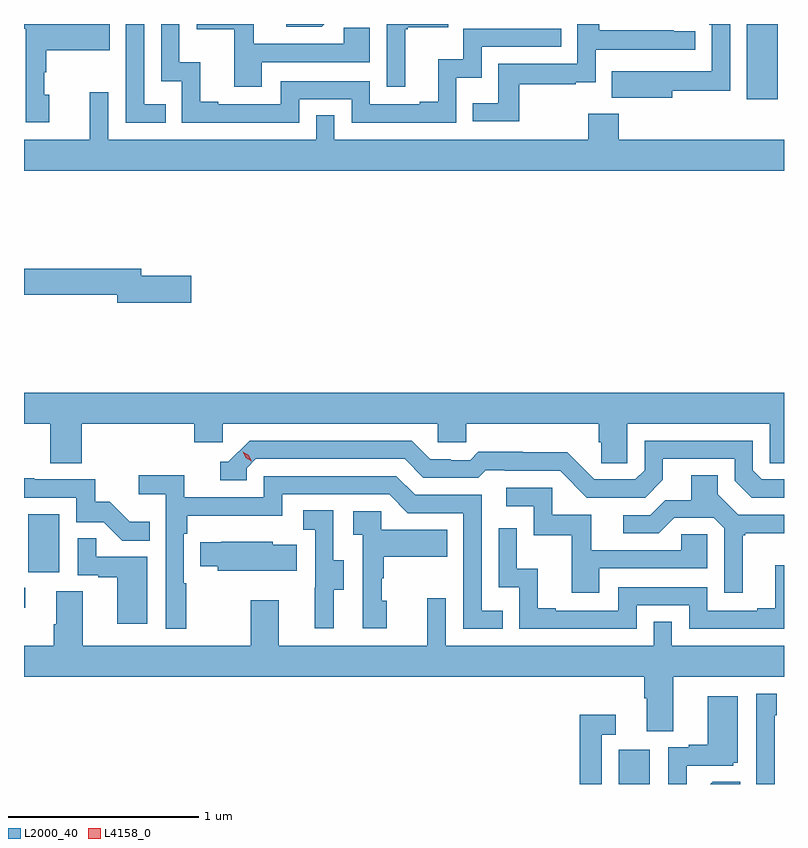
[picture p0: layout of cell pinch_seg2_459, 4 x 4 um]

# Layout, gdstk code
import gdstk
lib = gdstk.Library(unit=1e-6, precision=1e-09)
def R(c, l, rs):  # rectangles x0, y0, x1, y1
    for r in rs: c.add(gdstk.rectangle(r[:2], r[2:], *l))
def P(c, l, *ps):  # polygons
    for p in ps: c.add(gdstk.Polygon(p, *l))
L2000_40 = (2000, 40)
L4158_0 = (4158, 0)

pinch_seg2_459 = lib.new_cell('pinch_seg2_459')
R(pinch_seg2_459, L2000_40, [(912.794,584.468,912.958,584.647), (909.664,585.396,909.67,585.501), (909.686,585.582,909.85,585.889), (913.469,588.072,913.63,588.468)])
P(pinch_seg2_459, L2000_40, [(911.245,588.468),(911.043,588.468),(911.043,588.453),(911.23,588.453)],
  [(913.075,588.118),(913.38,588.118),(913.38,588.468),(913.271,588.468),(913.271,588.464),(913.284,588.464),(913.284,588.219),(912.971,588.219),(912.971,588.22),(912.757,588.22),(912.757,588.08),(913.075,588.08)],
  [(912.271,588.15),(912.569,588.15),(912.569,588.161),(912.672,588.161),(912.672,588.333),(913.198,588.333),(913.198,588.429),(913.085,588.429),(913.085,588.434),(912.692,588.434),(912.692,588.468),(912.576,588.468),(912.576,588.258),(912.16,588.258),(912.16,588.052),(912.025,588.052),(912.025,587.955),(912.271,587.955)],
  [(910.915,588.267),(911.484,588.267),(911.484,588.447),(911.347,588.447),(911.347,588.363),(910.873,588.363),(910.873,588.468),(910.572,588.468),(910.572,588.441),(910.771,588.441),(910.771,588.138),(910.915,588.138)],
  [(909.796,588.096),(909.771,588.096),(909.771,588.215),(909.781,588.215),(909.781,588.329),(910.115,588.329),(910.115,588.468),(909.664,588.468),(909.664,588.443),(909.672,588.443),(909.672,587.952),(909.796,587.952)],
  [(910.409,588.045),(910.296,588.045),(910.296,588.468),(910.2,588.468),(910.2,587.949),(910.409,587.949)],
  [(911.671,588.441),(911.683,588.441),(911.683,588.452),(911.896,588.452),(911.896,588.468),(911.574,588.468),(911.574,588.138),(911.671,588.138)],
  [(911.112,588.072),(911.388,588.072),(911.388,587.949),(911.94,587.949),(911.94,588.185),(912.072,588.185),(912.072,588.348),(912.491,588.348),(912.491,588.444),(911.976,588.444),(911.976,588.283),(911.843,588.283),(911.843,588.058),(911.747,588.058),(911.747,588.045),(911.484,588.045),(911.484,588.168),(911.016,588.168),(911.016,588.045),(910.687,588.045),(910.687,588.058),(910.592,588.058),(910.592,588.266),(910.482,588.266),(910.482,588.468),(910.386,588.468),(910.386,588.168),(910.494,588.168),(910.494,587.949),(911.112,587.949)],
  [(913.664,587.86),(912.794,587.86),(912.794,587.995),(912.634,587.995),(912.634,587.86),(911.298,587.86),(911.298,587.987),(911.202,587.987),(911.202,587.86),(910.107,587.86),(910.107,588.109),(910.01,588.109),(910.01,587.86),(909.664,587.86),(909.664,587.696),(913.664,587.696)],
  [(910.543,587.144),(910.282,587.144),(910.282,587.18),(909.664,587.18),(909.664,587.044),(910.154,587.044),(910.154,587.002),(910.543,587.002)],
  [(909.968,586.364),(910.559,586.364),(910.559,586.266),(910.71,586.266),(910.71,586.364),(911.841,586.364),(911.841,586.266),(911.991,586.266),(911.991,586.364),(912.689,586.364),(912.689,586.266),(912.703,586.266),(912.703,586.156),(912.84,586.156),(912.84,586.364),(913.59,586.364),(913.59,586.156),(913.664,586.156),(913.664,586.528),(909.664,586.528),(909.664,586.364),(909.803,586.364),(909.803,586.156),(909.968,586.156)],
  [(913.027,586.069),(913.027,586.179),(913.404,586.179),(913.404,586.065),(913.494,585.975),(913.664,585.975),(913.664,586.071),(913.548,586.071),(913.5,586.119),(913.5,586.275),(912.93,586.275),(912.93,586.119),(912.882,586.071),(912.666,586.071),(912.524,586.213),(912.288,586.213),(912.288,586.216),(912.055,586.216),(912.013,586.173),(911.91,586.173),(911.91,586.176),(911.803,586.176),(911.704,586.275),(910.851,586.275),(910.74,586.164),(910.697,586.164),(910.697,586.068),(910.836,586.068),(910.836,586.131),(910.884,586.179),(911.667,586.179),(911.766,586.08),(912.055,586.08),(912.094,586.119),(912.193,586.119),(912.193,586.116),(912.486,586.116),(912.627,585.975),(912.933,585.975)],
  [(913.447,585.777),(913.459,585.777),(913.459,585.788),(913.664,585.788),(913.664,585.885),(913.422,585.885),(913.315,585.992),(913.315,586.094),(913.175,586.094),(913.175,585.962),(913.04,585.962),(912.96,585.882),(912.819,585.882),(912.819,585.789),(913.006,585.789),(913.087,585.87),(913.293,585.87),(913.35,585.813),(913.35,585.474),(913.447,585.474)],
  [(910.519,585.524),(910.506,585.524),(910.506,585.785),(910.523,585.785),(910.523,585.881),(911.022,585.881),(911.022,585.993),(911.586,585.993),(911.685,585.894),(911.976,585.894),(911.976,585.285),(912.185,585.285),(912.185,585.381),(912.072,585.381),(912.072,585.99),(911.722,585.99),(911.623,586.089),(910.926,586.089),(910.926,585.978),(910.508,585.978),(910.508,586.094),(910.269,586.094),(910.269,585.992),(910.41,585.992),(910.41,585.285),(910.519,585.285)],
  [(910.325,585.847),(910.221,585.847),(910.114,585.954),(910.038,585.954),(910.038,586.071),(909.719,586.071),(909.719,586.076),(909.664,586.076),(909.664,585.975),(909.939,585.975),(909.939,585.846),(910.083,585.846),(910.181,585.748),(910.325,585.748)],
  [(912.691,585.603),(913.26,585.603),(913.26,585.783),(913.123,585.783),(913.123,585.699),(912.649,585.699),(912.649,585.885),(912.444,585.885),(912.444,586.026),(912.201,586.026),(912.201,585.93),(912.348,585.93),(912.348,585.777),(912.547,585.777),(912.547,585.474),(912.691,585.474)],
  [(911.293,585.49),(911.347,585.49),(911.347,585.645),(911.292,585.645),(911.292,585.908),(911.133,585.908),(911.133,585.805),(911.196,585.805),(911.196,585.501),(911.195,585.501),(911.195,585.288),(911.293,585.288)],
  [(911.572,585.432),(911.547,585.432),(911.547,585.551),(911.557,585.551),(911.557,585.665),(911.891,585.665),(911.891,585.805),(911.544,585.805),(911.544,585.903),(911.397,585.903),(911.397,585.779),(911.448,585.779),(911.448,585.288),(911.572,585.288)],
  [(912.888,585.408),(913.164,585.408),(913.164,585.285),(913.664,585.285),(913.664,585.619),(913.619,585.619),(913.619,585.394),(913.523,585.394),(913.523,585.381),(913.26,585.381),(913.26,585.504),(912.792,585.504),(912.792,585.381),(912.463,585.381),(912.463,585.394),(912.368,585.394),(912.368,585.602),(912.258,585.602),(912.258,585.814),(912.162,585.814),(912.162,585.504),(912.27,585.504),(912.27,585.285),(912.888,585.285)],
  [(910.312,585.663),(910.043,585.663),(910.043,585.761),(909.948,585.761),(909.948,585.567),(910.055,585.567),(910.055,585.555),(910.154,585.555),(910.154,585.312),(910.312,585.312)],
  [(911.099,585.727),(910.974,585.727),(910.974,585.742),(910.702,585.742),(910.702,585.741),(910.591,585.741),(910.591,585.613),(910.685,585.613),(910.685,585.59),(911.099,585.59)],
  [(913.081,585.032),(913.664,585.032),(913.664,585.196),(913.074,585.196),(913.074,585.323),(912.978,585.323),(912.978,585.196),(911.883,585.196),(911.883,585.445),(911.786,585.445),(911.786,585.196),(911.005,585.196),(911.005,585.436),(910.858,585.436),(910.858,585.196),(909.973,585.196),(909.973,585.482),(909.833,585.482),(909.833,585.308),(909.821,585.308),(909.821,585.196),(909.664,585.196),(909.664,585.032),(912.929,585.032),(912.929,584.92),(912.941,584.92),(912.941,584.746),(913.081,584.746)],
  [(913.614,584.831),(913.627,584.831),(913.627,584.944),(913.518,584.944),(913.518,584.468),(913.614,584.468)],
  [(913.151,584.565),(913.398,584.565),(913.398,584.58),(913.42,584.58),(913.42,584.929),(913.262,584.929),(913.262,584.674),(913.163,584.674),(913.163,584.661),(913.056,584.661),(913.056,584.468),(913.151,584.468)],
  [(912.705,584.727),(912.778,584.727),(912.778,584.833),(912.589,584.833),(912.589,584.468),(912.705,584.468)],
  [(913.433,584.48),(913.289,584.48),(913.277,584.468),(913.433,584.468)])
P(pinch_seg2_459, L4158_0, [(910.862,586.167),(910.831,586.186),(910.814,586.218),(910.814,586.218),(910.815,586.218),(910.846,586.199),(910.862,586.167),(910.862,586.167)])

lib.write_gds('pinch_seg2_459.gds')
